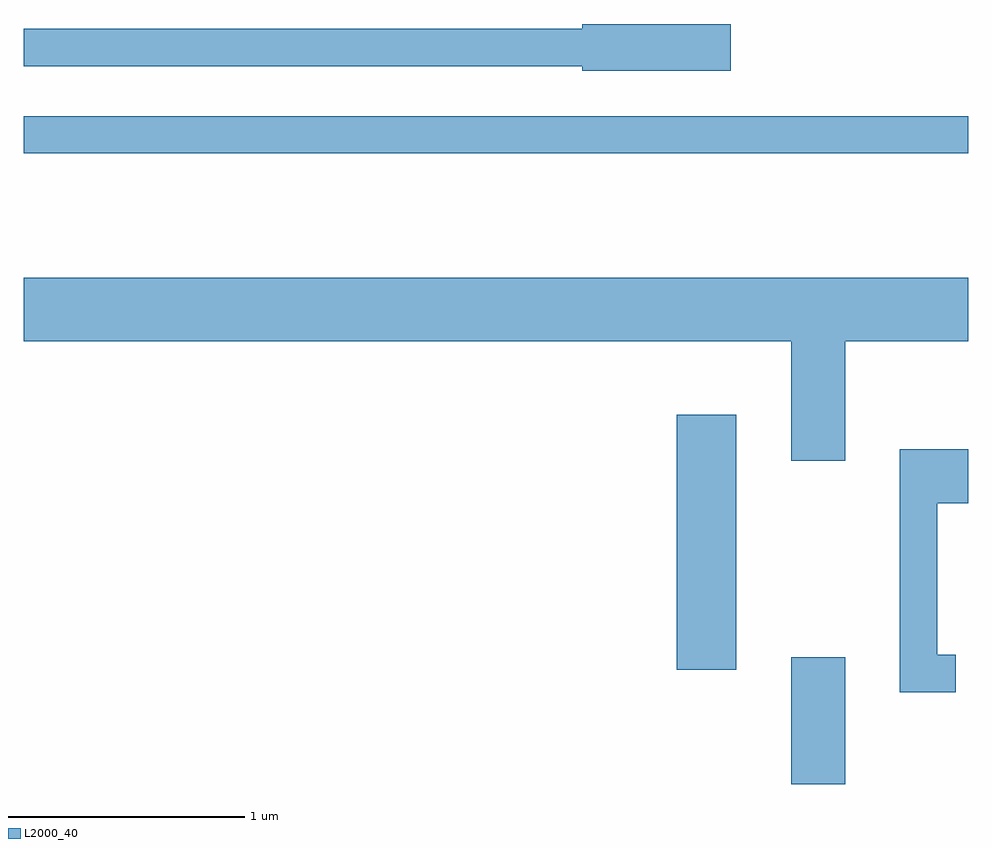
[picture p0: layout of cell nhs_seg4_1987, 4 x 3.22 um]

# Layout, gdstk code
import gdstk
lib = gdstk.Library(unit=1e-6, precision=1e-09)
def R(c, l, rs):  # rectangles x0, y0, x1, y1
    for r in rs: c.add(gdstk.rectangle(r[:2], r[2:], *l))
def P(c, l, *ps):  # polygons
    for p in ps: c.add(gdstk.Polygon(p, *l))
L2000_40 = (2000, 40)

nhs_seg4_1987 = lib.new_cell('nhs_seg4_1987')
R(nhs_seg4_1987, L2000_40, [(246.861,1283.982,247.089,1284.519), (246.376,1284.466,246.629,1285.544), (243.611,1286.651,247.611,1286.809)])
P(nhs_seg4_1987, L2000_40, [(246.604,1287.199),(245.976,1287.199),(245.976,1287.179),(243.611,1287.179),(243.611,1287.021),(245.976,1287.021),(245.976,1287.001),(246.604,1287.001)],
  [(247.089,1285.856),(247.611,1285.856),(247.611,1286.124),(243.611,1286.124),(243.611,1285.856),(246.861,1285.856),(246.861,1285.351),(247.089,1285.351)],
  [(247.558,1284.529),(247.479,1284.529),(247.479,1285.171),(247.611,1285.171),(247.611,1285.399),(247.321,1285.399),(247.321,1284.371),(247.558,1284.371)])

lib.write_gds('nhs_seg4_1987.gds')
